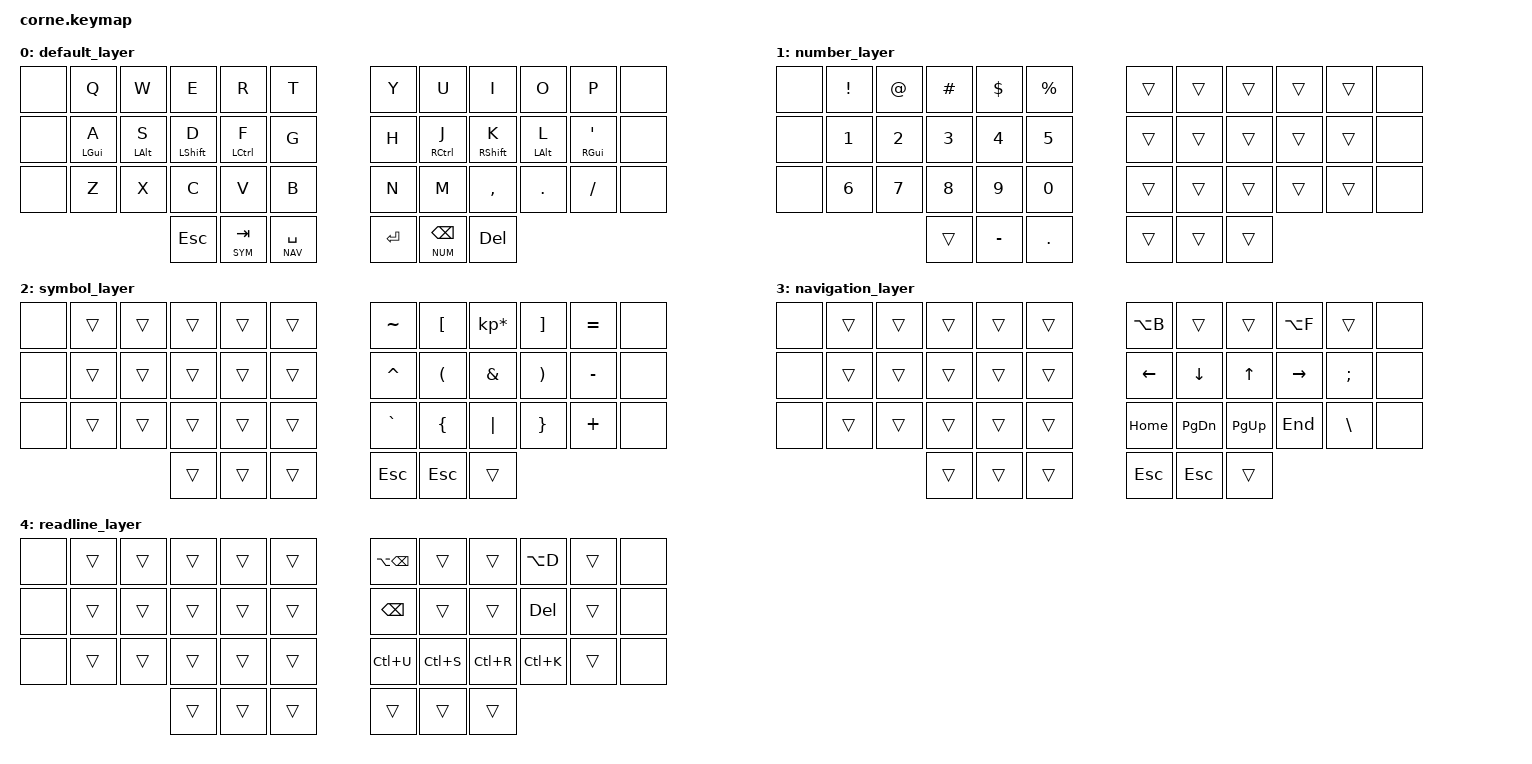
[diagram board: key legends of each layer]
/*
 * Copyright (c) 2020 The ZMK Contributors
 *
 * SPDX-License-Identifier: MIT
 */

#include <behaviors.dtsi>
#include <dt-bindings/zmk/keys.h>
#include <dt-bindings/zmk/bt.h>

#define ___ &trans
#define KP_STAR KP_MULTIPLY

#define BASE 0
#define NUM 1
#define SYM 2
#define NAV 3
#define RDL 4

&kscan0 {
    debounce-period = <10>;
};

&lt {
    quick_tap_ms = <150>;
};

/ {

        #include "combos.dtsi"

        // chosen {
        //     zmk,matrix_transform = &five_column_transform;
        // };

        behaviors {

            hm: homerow_mods {
                compatible = "zmk,behavior-hold-tap";
                label = "HOMEROW_MODS";
                #binding-cells = <2>;
                tapping-term-ms = <180>;
                quick_tap_ms = <0>;
                flavor = "tap-preferred";
                bindings = <&kp>, <&kp>;
            };
        };

        keymap {
                compatible = "zmk,keymap";

                default_layer {
// -----------------------------------------------------------------------------------------
// |  TAB |  Q  |  W  |  E  |  R  |  T  |   |  Y  |  U   |  I  |  O  |  P  |  -   |
// | CTRL |  A  |  S  |  D  |  F  |  G  |   |  H  |  J   |  K  |  L  |  '  |  ;   |
// | SHFT |  Z  |  X  |  C  |  V  |  B  |   |  N  |  M   |  ,  |  .  |  /  |  \   |
//                    | ESC | TAB | SPC |   | ENT | BSPC | DEL |
                        bindings = <
 &none  &kp Q &kp W &kp E &kp R &kp T   &kp Y &kp U  &kp I     &kp O   &kp P &none
 &none  &hm LGUI A &hm LALT S &hm LSHFT D &hm LCTRL F &kp G   &kp H &hm RCTRL J &hm RSHFT K &hm LALT L &hm RGUI SQT &none
 &none  &kp Z &kp X &kp C &kp V &kp B   &kp N &kp M  &kp COMMA &kp DOT &kp FSLH &none
         &kp ESC &lt SYM TAB &lt NAV SPACE   &kp RET &lt NUM BSPC &kp DEL
                        >;
                };

                number_layer {
// -----------------------------------------------------------------------------------------
// |      |  !  |  @  |  #  |  $  |  %  |   |     |     |     |     |     |      |
// |      |  1  |  2  |  3  |  4  |  5  |   |     |     |     |     |     |      |
// |      |  6  |  7  |  8  |  9  |  0  |   |     |     |     |     |     |      |
//                    |     |  -  |  .  |   |     |     |     |
                        bindings = <
 &none  &kp EXCL     &kp AT       &kp HASH     &kp DLLR     &kp PRCNT   &trans   &trans   &trans &trans    &trans &none
 &none  &kp N1       &kp N2       &kp N3       &kp N4       &kp N5      &trans   &trans   &trans &trans    &trans &none
 &none  &kp N6       &kp N7       &kp N8       &kp N9       &kp N0      &trans   &trans   &trans &trans    &trans &none
                          &trans       &kp MINUS    &kp DOT      &trans   &trans   &trans
                        >;
                };
    symbol_layer {
      bindings = <
        // ╭─────────────┬─────────────┬─────────────┬─────────────┬─────────────╮   ╭─────────────┬─────────────┼─────────────┬─────────────┬─────────────╮
 &none       ___           ___           ___           ___           ___               &kp TILDE     &kp LBKT      &kp KP_STAR   &kp RBKT      &kp EQUAL      &none
        // ├─────────────┼─────────────┼─────────────┬─────────────┼─────────────┤   ├─────────────┼─────────────┼─────────────┼─────────────┼─────────────┤
 &none       ___           ___           ___           ___           ___               &kp CARET     &kp LPAR      &kp AMPS      &kp RPAR      &kp MINUS      &none
        // ├─────────────┼─────────────┼─────────────┬─────────────┼─────────────┤   ├─────────────┼─────────────┼─────────────┼─────────────┼─────────────┤
 &none       ___           ___           ___           ___           ___               &kp GRAVE     &kp LBRC      &kp PIPE      &kp RBRC      &kp PLUS       &none
        // ╰─────────────┴─────────────┼─────────────┬─────────────┼─────────────┤   ├─────────────┼─────────────┼─────────────┼─────────────┴─────────────╯
                                         ___           ___           ___               &kp ESC       &kp ESC       ___
        //                             ╰─────────────┴─────────────┬─────────────╯   ╰─────────────┼─────────────┴─────────────╯
      >;
    };
    navigation_layer {
      bindings = <
        // ╭─────────────┬─────────────┬─────────────┬─────────────┬─────────────╮   ╭─────────────┬─────────────┼─────────────┬─────────────┬─────────────╮
 &none       ___           ___           ___           ___           ___               &kp LA(B)     ___           ___           &kp LA(F)     ___            &none
        // ├─────────────┼─────────────┼─────────────┬─────────────┼─────────────┤   ├─────────────┼─────────────┼─────────────┼─────────────┼─────────────┤
 &none       ___           ___           ___           ___           ___               &kp LEFT      &kp DOWN      &kp UP        &kp RIGHT     &kp SEMI       &none
        // ├─────────────┼─────────────┼─────────────┬─────────────┼─────────────┤   ├─────────────┼─────────────┼─────────────┼─────────────┼─────────────┤
 &none       ___           ___           ___           ___           ___               &kp HOME      &kp PG_DN     &kp PG_UP     &kp END       &kp BSLH       &none
        // ╰─────────────┴─────────────┼─────────────┬─────────────┼─────────────┤   ├─────────────┼─────────────┼─────────────┼─────────────┴─────────────╯
                                         ___           ___           ___               &kp ESC       &kp ESC       ___
        //                             ╰─────────────┴─────────────┬─────────────╯   ╰─────────────┼─────────────┴─────────────╯
      >;
    };
    readline_layer {
      bindings = <
        // ╭─────────────┬─────────────┬─────────────┬─────────────┬─────────────╮   ╭─────────────┬─────────────┼─────────────┬─────────────┬─────────────╮
 &none       ___           ___           ___           ___           ___               &kp LA(BSPC)  ___           ___           &kp LA(D)     ___            &none
        // ├─────────────┼─────────────┼─────────────┬─────────────┼─────────────┤   ├─────────────┼─────────────┼─────────────┼─────────────┼─────────────┤
 &none       ___           ___           ___           ___           ___               &kp BSPC      ___           ___           &kp DEL       ___            &none
        // ├─────────────┼─────────────┼─────────────┬─────────────┼─────────────┤   ├─────────────┼─────────────┼─────────────┼─────────────┼─────────────┤
 &none       ___           ___           ___           ___           ___               &kp LC(U)     &kp LC(S)     &kp LC(R)     &kp LC(K)     ___            &none
        // ╰─────────────┴─────────────┼─────────────┬─────────────┼─────────────┤   ├─────────────┼─────────────┼─────────────┼─────────────┴─────────────╯
                                         ___           ___           ___               ___           ___           ___
        //                             ╰─────────────┴─────────────┬─────────────╯   ╰─────────────┼─────────────┴─────────────╯
      >;
    };
  };
};
